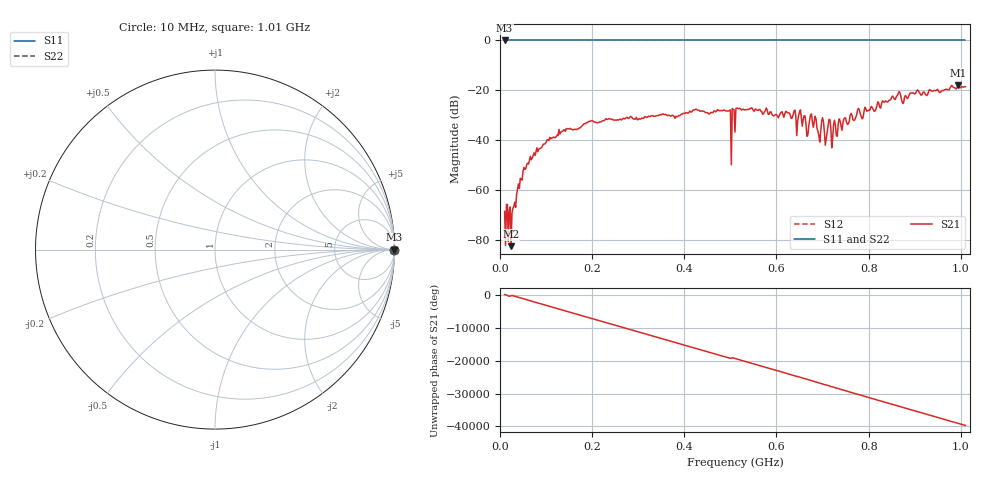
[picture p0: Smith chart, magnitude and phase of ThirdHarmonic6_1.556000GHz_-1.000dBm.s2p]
! 8/16/2025 6:28:54 PM
! C:\ANRITSUVNA\TEMP\TEMP.S2P
! CHANNEL.1
! TR.MEASUREMENT
! RAW.DATA
! RF.CORRECTION.OFF
! AVERAGING.OFF
! IF.BANDWIDTH: 5KHZ
! SWEEPTYPE:  FREQ.SWEEP(Linear)
! Reference Plane Port Info
! PORT:  PORT1  PORT2
! DISTANCE:  0  m  0  m
! TIME:  0  s  0  s
! PHASE.OFFSET:  0  deg.  0  deg.
! LOSS:  0  dB  0  dB
! REF.LOSS:  0  dB  0  dB
! REF.FREQ:  0  Hz  0  Hz
! Power Info
! POWER:  -20  dBm  -20  dBm
! EFF.POWER:  -20  dBm  -20  dBm
! SOURCE.ATTEN:  0  dB  0  dB
! TEST.ATTEN:  0  dB  0  dB
# GHZ S RI R 50.0
! FREQ.GHZ  S11RE  S11IM  S21RE  S21IM  S12RE  S12IM  S22RE  S22IM
!; PortSelection: Port_12
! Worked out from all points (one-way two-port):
!   501 points, 10 MHz to 1.01 GHz, reference 50 ohm
!   highest |S21| = -18.08 dB at 994 MHz (marker M1); lowest = -82.6 dB at 24 MHz (marker M2)
!   lowest |S11| = 0.0 dB at 10 MHz (marker M3)
!   |S11| at or under -10 dB: nowhere
!   |S22| runs from 0.0 to 0.0 dB; largest |S21 - S12| = 1.1
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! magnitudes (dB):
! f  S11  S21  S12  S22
! 10 MHz  0.0  -68.6  0.0  0.0
! 24 MHz  0.0  -82.6  0.0  0.0
! 48 MHz  0.0  -56.1  0.0  0.0
! 76 MHz  0.0  -46.2  0.0  0.0
! 178 MHz  0.0  -34.3  0.0  0.0
! 344 MHz  0.0  -30.1  0.0  0.0
! 496 MHz  0.0  -28.3  0.0  0.0
! 498 MHz  0.0  -28.1  0.0  0.0
! 506 MHz  0.0  -27.6  0.0  0.0
! 510 MHz  0.0  -36.8  0.0  0.0
! 624 MHz  0.0  -29.0  0.0  0.0
! 650 MHz  0.0  -28.7  0.0  0.0
! 668 MHz  0.0  -38.0  0.0  0.0
! 678 MHz  0.0  -32.9  0.0  0.0
! 692 MHz  0.0  -38.3  0.0  0.0
! 700 MHz  0.0  -31.0  0.0  0.0
! 708 MHz  0.0  -39.5  0.0  0.0
! 714 MHz  0.0  -31.7  0.0  0.0
! 722 MHz  0.0  -39.3  0.0  0.0
! 844 MHz  0.0  -24.1  0.0  0.0
! 994 MHz  0.0  -18.1  0.0  0.0
! 1.01 GHz  0.0  -18.6  0.0  0.0
